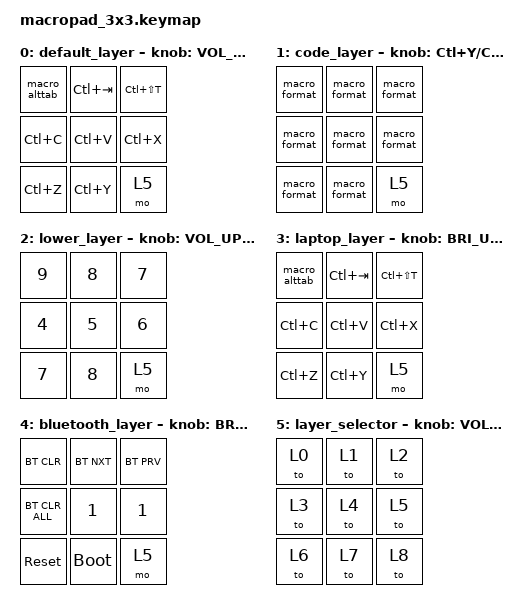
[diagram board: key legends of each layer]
#include <behaviors.dtsi>
#include <dt-bindings/zmk/keys.h>
#include <dt-bindings/zmk/bt.h>

/ {
    macros {
        compatible = "zmk,macros";

        macro_alttab: macro_alttab {
            compatible = "zmk,behavior-macro";
            #binding-cells = <0>;
            bindings
                = <&macro_press &kp LALT>
                , <&macro_tap &kp TAB>
                , <&macro_release &kp LALT>
                ;
        };

        macro_format: macro_format {
            compatible = "zmk,behavior-macro";
            #binding-cells = <0>;
            bindings
                = <&macro_press &kp LSHIFT>
                , <&macro_press &kp LALT>
                , <&macro_tap &kp F>
                , <&macro_release &kp LSHIFT>
                , <&macro_release &kp LALT>
                ;
        };
    };
    keymap {
        compatible = "zmk,keymap";

        default_layer {
            // -------------------------------------
            // |     1     |     2     |     3     |
            // |     4     |     5     |     6     |
            // |  MO(3)    |     8     |  MO(2)    |
            bindings = <
                &macro_alttab   &kp LC(TAB)  &kp LC(LS(T))
                &kp LC(C)       &kp LC(V)    &kp LC(X)
                &kp LC(Z)       &kp LC(Y)    &mo 5
            >;
            // Encoder bindings: clockwise -> VOL_UP, counterclockwise -> VOL_DOWN
            sensor-bindings = <&inc_dec_kp C_VOL_UP C_VOL_DN>;
        };

        code_layer {
            // -------------------------------------
            // |     3     |     2     |     1     |
            // |     4     |     5     |     6     |
            // |  MO(3)    |     8     |  MO(2)    |
            bindings = <
                &macro_format    &macro_format    &macro_format
                &macro_format    &macro_format    &macro_format
                &macro_format    &macro_format    &mo 5
            >;
            // Encoder bindings: clockwise -> VOL_UP, counterclockwise -> VOL_DOWN
            sensor-bindings = <&inc_dec_kp LC(Y) LC(Z)>;
        };

        lower_layer {
            // -------------------------------------
            // |     9     |     8     |     7     |
            // |     4     |     5     |     6     |
            // |  MO(3)    |     8     |  MO(2)    |
            bindings = <
                &kp N9    &kp N8    &kp N7
                &kp N4    &kp N5    &kp N6
                &kp N7    &kp N8    &mo 5
            >;
            // Encoder bindings: clockwise -> VOL_UP, counterclockwise -> VOL_DOWN
            sensor-bindings = <&inc_dec_kp C_VOL_UP C_VOL_DN>;
        };

        laptop_layer {
            // -------------------------------------
            // |     1     |     2     |     3     |
            // |     4     |     5     |     6     |
            // |  MO(3)    |     8     |  MO(2)    |
            bindings = <
                &macro_alttab   &kp LC(TAB)  &kp LC(LS(T))
                &kp LC(C)       &kp LC(V)    &kp LC(X)
                &kp LC(Z)       &kp LC(Y)    &mo 5
            >;
            // Encoder bindings: clockwise -> VOL_UP, counterclockwise -> VOL_DOWN
            sensor-bindings = <&inc_dec_kp C_BRI_UP C_BRI_DN>;
        };

        bluetooth_layer {
            // -------------------------------------
            // |  TO(0)    |  TO(1)    |  TO(2)    |
            // |  TO(3)    |  TO(0)    |  TO(1)    |
            // |  MO(3)    |  TO(2)    |  MO(2)    |
            bindings = <
                &bt BT_CLR         &bt BT_NXT    &bt BT_PRV
                &bt BT_CLR_ALL     &kp N1        &kp N1
                &sys_reset         &bootloader   &mo 5
            >;
            // Encoder bindings: clockwise -> VOL_UP, counterclockwise -> VOL_DOWN
            sensor-bindings = <&inc_dec_kp C_BRI_UP C_BRI_DN>;
        };

        layer_selector {
            // -------------------------------------
            // |  TO(0)    |  TO(1)    |  TO(2)    |
            // |  TO(3)    |  TO(0)    |  TO(1)    |
            // |  MO(3)    |  TO(2)    |  MO(2)    |
            bindings = <
                &to 0     &to 1     &to 2
                &to 3     &to 4     &to 5
                &to 6     &to 7     &to 8
            >;
            // Encoder bindings: clockwise -> VOL_UP, counterclockwise -> VOL_DOWN
            sensor-bindings = <&inc_dec_kp C_VOL_UP C_VOL_DN>;
        };
    };
};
